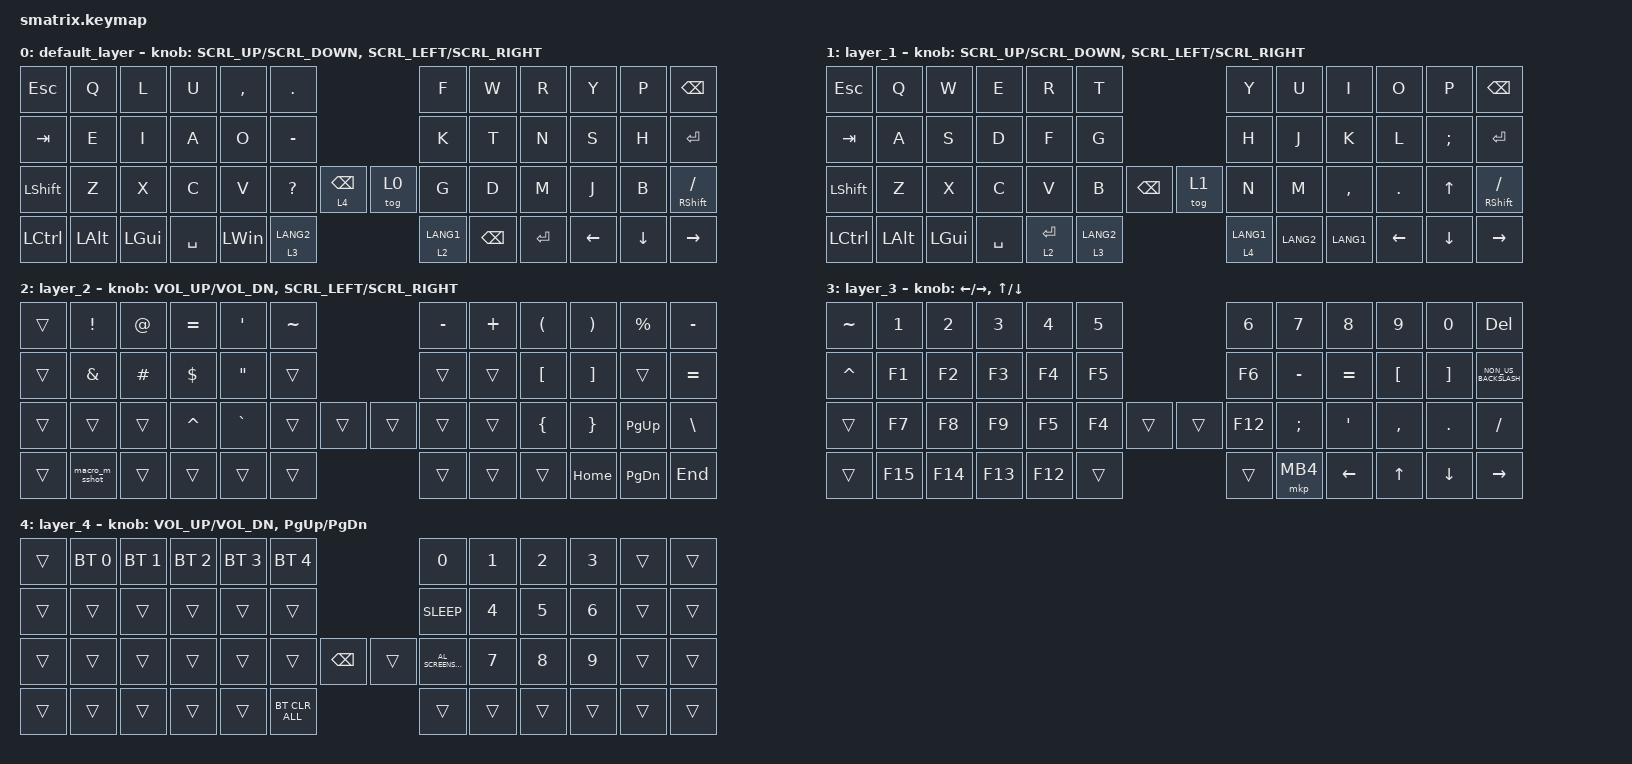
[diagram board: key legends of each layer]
#define ZMK_POINTING_DEFAULT_MOVE_VAL 800
#define ZMK_POINTING_DEFAULT_SCRL_VAL 120

#include <input/processors.dtsi>
#include <zephyr/dt-bindings/input/input-event-codes.h>
#include <behaviors.dtsi>
#include <dt-bindings/zmk/bt.h>
#include <dt-bindings/zmk/keys.h>
#include <dt-bindings/zmk/pointing.h>

&mt {
    flavor = "balanced";
    quick-tap-ms = <0>;
};

&msc {
    delay-ms = <0>;
    trigger-period-ms = <10>;
    time-to-max-speed-ms = <0>;
    acceleration-exponent = <0>;
};

/ {
    input_processors {
        zip_wheel_scaler: zip_wheel_scaler {
            compatible = "zmk,input-processor-scaler";
            #input-processor-cells = <2>;
            type = <INPUT_EV_REL>;
            codes = <INPUT_REL_WHEEL>;
            track-remainders;
        };
    };
};

&msc_input_listener {
    warp {
        layers = <0>;
        input-processors = <&zip_wheel_scaler 4 1>;
    };

    precision {
        layers = <1>;
        input-processors = <&zip_wheel_scaler 1 2>;
    };
};

/ {
    behaviors {
        rot_kp: sensor_rotate_kp {
            compatible = "zmk,behavior-sensor-rotate-var";
            #sensor-binding-cells = <2>;
            bindings = <&kp>, <&kp>;
        };

        mouse_click: mouse_button_kp {
            compatible = "zmk,behavior-sensor-rotate-var";
            #sensor-binding-cells = <2>;
            bindings = <&mkp>, <&mkp>;
        };

        mouse_scrl: mouse_wheel_scrl {
            compatible = "zmk,behavior-sensor-rotate-var";
            #sensor-binding-cells = <2>;
            bindings = <&msc>, <&msc>;

            tap-ms = <10>;
        };

        macro_w_sshot: macro_w_sshot {
            compatible = "zmk,behavior-macro";
            label = "Win Screenshot Macro";
            #binding-cells = <0>;
            bindings =
                <&macro_press>,
                <&kp LGUI &kp LSHFT>,
                <&macro_tap>,
                <&kp S>,
                <&macro_release>,
                <&kp LGUI &kp LSHFT>;
        };

        macro_m_sshot: macro_m_sshot {
            compatible = "zmk,behavior-macro";
            label = "Mac Screenshot Macro";
            #binding-cells = <0>;
            bindings =
                <&macro_press>,
                <&kp LGUI &kp LSHFT>,
                <&macro_tap>,
                <&kp N4>,
                <&macro_release>,
                <&kp LGUI &kp LSHFT>;
        };

        macro_w_TMute: macro_w_TMute {
            compatible = "zmk,behavior-macro";
            label = "Win Teams Mic Mute";
            #binding-cells = <0>;
            bindings =
                <&macro_press>,
                <&kp LGUI &kp LALT>,
                <&macro_tap>,
                <&kp K>,
                <&macro_release>,
                <&kp LGUI &kp LALT>;
        };
    };

    macros {
    };

    keymap {
        compatible = "zmk,keymap";

        default_layer {
            bindings = <
&kp ESC    &kp Q         &kp L     &kp U      &kp COMMA     &kp PERIOD                               &kp F        &kp W          &kp R      &kp Y     &kp P     &kp BACKSPACE
&kp TAB    &kp E         &kp I     &kp A      &kp O         &kp MINUS                                &kp K        &kp T          &kp N      &kp S     &kp H     &kp ENTER
&kp LSHFT  &kp Z         &kp X     &kp C      &kp V         &kp QUESTION  &lt 4 BACKSPACE    &tog 0  &kp G        &kp D          &kp M      &kp J     &kp B     &mt RSHFT SLASH
&kp LCTRL  &kp LEFT_ALT  &kp LGUI  &kp SPACE  &kp LEFT_WIN  &lt 3 LANG2                              &lt 2 LANG1  &kp BACKSPACE  &kp ENTER  &kp LEFT  &kp DOWN  &kp RIGHT
            >;

            sensor-bindings =
                <&mouse_scrl SCRL_UP SCRL_DOWN>,
                <&mouse_scrl SCRL_LEFT SCRL_RIGHT>;
        };

        layer_1 {
            bindings = <
&kp ESC    &kp Q         &kp W     &kp E      &kp R        &kp T                                 &kp Y        &kp U      &kp I      &kp O       &kp P     &kp BACKSPACE
&kp TAB    &kp A         &kp S     &kp D      &kp F        &kp G                                 &kp H        &kp J      &kp K      &kp L       &kp SEMI  &kp ENTER
&kp LSHFT  &kp Z         &kp X     &kp C      &kp V        &kp B        &kp BACKSPACE    &tog 1  &kp N        &kp M      &kp COMMA  &kp PERIOD  &kp UP    &mt RSHFT SLASH
&kp LCTRL  &kp LEFT_ALT  &kp LGUI  &kp SPACE  &lt 2 ENTER  &lt 3 LANG2                           &lt 4 LANG1  &kp LANG2  &kp LANG1  &kp LEFT    &kp DOWN  &kp RIGHT
            >;

            sensor-bindings =
                <&mouse_scrl SCRL_UP SCRL_DOWN>,
                <&mouse_scrl SCRL_LEFT SCRL_RIGHT>;
        };

        layer_2 {
            bindings = <
&trans  &kp EXCL        &kp AT    &kp EQUAL   &kp APOS   &kp TILDE                    &kp MINUS  &kp PLUS  &kp LPAR  &kp RPAR  &kp PERCENT  &kp MINUS
&trans  &kp AMPS        &kp HASH  &kp DOLLAR  &kp DQT    &trans                       &trans     &trans    &kp LBKT  &kp RBKT  &trans       &kp EQUAL
&trans  &trans          &trans    &kp CARET   &kp GRAVE  &trans     &trans    &trans  &trans     &trans    &kp LBRC  &kp RBRC  &kp PG_UP    &kp BSLH
&trans  &macro_m_sshot  &trans    &trans      &trans     &trans                       &trans     &trans    &trans    &kp HOME  &kp PG_DN    &kp END
            >;

            sensor-bindings = <&rot_kp C_VOL_UP C_VOL_DN    &mouse_scrl SCRL_LEFT SCRL_RIGHT>;
        };

        layer_3 {
            bindings = <
&kp TILDE  &kp NUMBER_1  &kp NUMBER_2  &kp NUMBER_3  &kp NUMBER_4  &kp N5                    &kp NUMBER_6  &kp N7         &kp N8          &kp N9            &kp N0             &kp DELETE
&kp CARET  &kp F1        &kp F2        &kp F3        &kp F4        &kp F5                    &kp F6        &kp MINUS      &kp EQUAL       &kp LEFT_BRACKET  &kp RIGHT_BRACKET  &kp NON_US_BACKSLASH
&trans     &kp F7        &kp F8        &kp F9        &kp F5        &kp F4  &trans    &trans  &kp F12       &kp SEMICOLON  &kp SQT         &kp COMMA         &kp PERIOD         &kp SLASH
&trans     &kp F15       &kp F14       &kp F13       &kp F12       &trans                    &trans        &mkp MB4       &kp LEFT_ARROW  &kp UP_ARROW      &kp DOWN_ARROW     &kp RIGHT_ARROW
            >;

            sensor-bindings =
                <&rot_kp LEFT_ARROW RIGHT_ARROW>,
                <&rot_kp UP_ARROW DOWN_ARROW>;
        };

        layer_4 {
            bindings = <
&trans  &bt BT_SEL 0  &bt BT_SEL 1  &bt BT_SEL 2  &bt BT_SEL 3  &bt BT_SEL 4                             &kp NUMBER_0          &kp NUMBER_1  &kp NUMBER_2  &kp NUMBER_3  &trans  &trans
&trans  &trans        &trans        &trans        &trans        &trans                                   &kp C_SLEEP           &kp NUMBER_4  &kp NUMBER_5  &kp NUMBER_6  &trans  &trans
&trans  &trans        &trans        &trans        &trans        &trans          &kp BACKSPACE    &trans  &kp C_AL_SCREENSAVER  &kp NUMBER_7  &kp NUMBER_8  &kp NUMBER_9  &trans  &trans
&trans  &trans        &trans        &trans        &trans        &bt BT_CLR_ALL                           &trans                &trans        &trans        &trans        &trans  &trans
            >;

            sensor-bindings = <&rot_kp C_VOL_UP C_VOL_DN    &rot_kp PG_UP PG_DN>;
        };
    };
};
